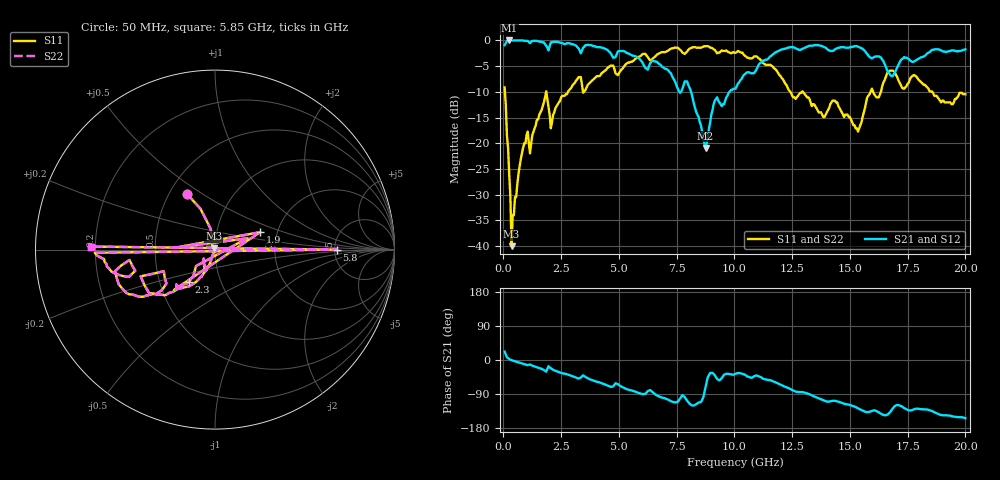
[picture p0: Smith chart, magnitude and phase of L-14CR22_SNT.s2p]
#	mhz	s	ma	r	50
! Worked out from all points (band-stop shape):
!   400 points, 50 MHz to 20 GHz, reference 50 ohm
!   highest |S21| = 0.00 dB at 250 MHz (marker M1); lowest = -20.9 dB at 8.75 GHz (marker M2)
!   |S21| within 3 dB of the highest: start of sweep to 4.703 GHz; 11.59 GHz to 15.81 GHz (4.215 GHz wide, 30.8 % of centre) (the widest 2 of 4)
!   lowest |S11| = -40.0 dB at 350 MHz (marker M3), VSWR 1.02, Z = 49.3 + j0.653 ohm
!   |S11| at or under -10 dB: 63.45 MHz to 1.846 GHz (1.782 GHz wide, 187 % of centre); 12.97 GHz to 15.89 GHz (2.922 GHz wide, 20.3 % of centre); 18.57 GHz to end of sweep (the widest 3 of 7)
!   |S22| runs from -40.0 to -1.1 dB; largest |S21 - S12| = 0
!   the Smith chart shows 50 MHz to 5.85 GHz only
!   S11 on the Smith chart (normalised r, x): 50 MHz: 0.61, +0.43; 1.9 GHz: 1.63, +0.34; 2.3 GHz: 0.71, -0.27; 5.8 GHz: 5.25, +0.00; 5.85 GHz: 0.18, +0.01
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50  0.35 116.8  0.9 22.2  0.9 22.2  0.35 116.8
250  0.05 103.3  1 2.6  1 2.6  0.05 103.3
350  0.01 138.5  1 -0.4  1 -0.4  0.01 138.5
850  0.09 -110.5  1 -9.8  1 -9.8  0.09 -110.5
1850  0.32 -135.5  0.89 -30.7  0.89 -30.7  0.32 -135.5
1900  0.27 21.1  0.85 -23.6  0.85 -23.6  0.27 21.1
1950  0.23 177.7  0.8 -16.6  0.8 -16.6  0.23 177.7
2000  0.19 19.3  0.88 -19.2  0.88 -19.2  0.19 19.3
2300  0.23 -129.1  0.97 -29.6  0.97 -29.6  0.23 -129.1
3400  0.37 -158.7  0.8 -43.4  0.8 -43.4  0.37 -158.7
5750  0.67 -178.5  0.7 -84.8  0.7 -84.8  0.67 -178.5
5800  0.68 0.0  0.68 -85.8  0.68 -85.8  0.68 0.0
5850  0.69 178.6  0.67 -86.9  0.67 -86.9  0.69 178.6
6700  0.74 167.2  0.6 -94.9  0.6 -94.9  0.74 167.2
7950  0.78 133.7  0.4 -107.5  0.4 -107.5  0.78 133.7
8750  0.88 102.6  0.09 -70.9  0.09 -70.9  0.88 102.6
10050  0.76 85.1  0.34 -36.2  0.34 -36.2  0.76 85.1
11650  0.56 46.6  0.73 -55.6  0.73 -55.6  0.56 46.6
13350  0.23 37.5  0.89 -93.4  0.89 -93.4  0.23 37.5
15350  0.13 34.9  0.87 -127.4  0.87 -127.4  0.13 34.9
16700  0.5 62.4  0.48 -140.0  0.48 -140.0  0.5 62.4
20000  0.3 -53.7  0.82 -153.5  0.82 -153.5  0.3 -53.7
